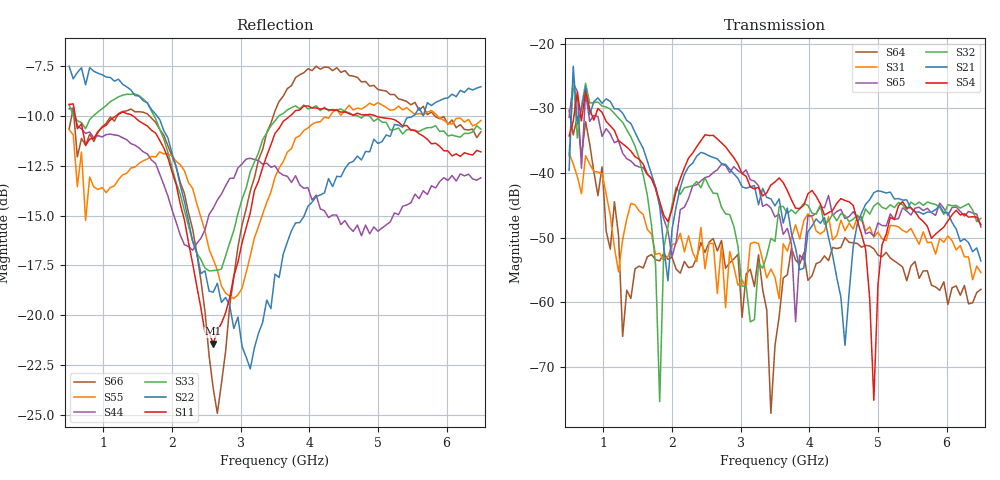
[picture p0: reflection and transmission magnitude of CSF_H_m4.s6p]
!Keysight Technologies,M9804A,MY58100912,A.14.10.03
!Date: Thursday, April 27, 2023 10:28:33
!Correction: S11(C  6-Port  )
!S12(C  6-Port  )
!S13(C  6-Port  )
!S14(C  6-Port  )
!S15(C  6-Port  )
!S16(C  6-Port  )
!S21(C  6-Port  )
!S22(C  6-Port  )
!S23(C  6-Port  )
!S24(C  6-Port  )
!S25(C  6-Port  )
!S26(C  6-Port  )
!S31(C  6-Port  )
!S32(C  6-Port  )
!S33(C  6-Port  )
!S34(C  6-Port  )
!S35(C  6-Port  )
!S36(C  6-Port  )
!S41(C  6-Port  )
!S42(C  6-Port  )
!S43(C  6-Port  )
!S44(C  6-Port  )
!S45(C  6-Port  )
!S46(C  6-Port  )
!S51(C  6-Port  )
!S52(C  6-Port  )
!S53(C  6-Port  )
!S54(C  6-Port  )
!S55(C  6-Port  )
!S56(C  6-Port  )
!S61(C  6-Port  )
!S62(C  6-Port  )
!S63(C  6-Port  )
!S64(C  6-Port  )
!S65(C  6-Port  )
!S66(C  6-Port  )
!S6P File: Measurement: :
# Hz S  RI  R 50
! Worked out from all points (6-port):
!   101 points, 500 MHz to 6.5 GHz, reference 50 ohm
!   strongest paths, dB at 500 MHz, 2 GHz, 3.5 GHz, 5 GHz, 6.5 GHz:
!     S54: -34.3, -45.6, -41.4, -57.3, -48.0
!     S21: -39.6, -48.7, -45.1, -42.7, -53.6
!     S32: -37.4, -45.0, -50.6, -44.6, -47.0
!     S65: -31.4, -52.9, -46.8, -47.7, -48.4
!     S31: -36.9, -51.1, -56.1, -49.2, -55.4
!     S64: -30.3, -53.0, -66.7, -52.7, -58.0
!   lowest |S11| = -21.4 dB at 2.6 GHz (marker M1), VSWR 1.19, Z = 42.5 + j2.16 ohm
!   |S11| at or under -10 dB: 589.9 MHz to 1.176 GHz (586.1 MHz wide, 66.4 % of centre); 1.435 GHz to 3.714 GHz (2.28 GHz wide, 88.5 % of centre); 4.975 GHz to end of sweep
